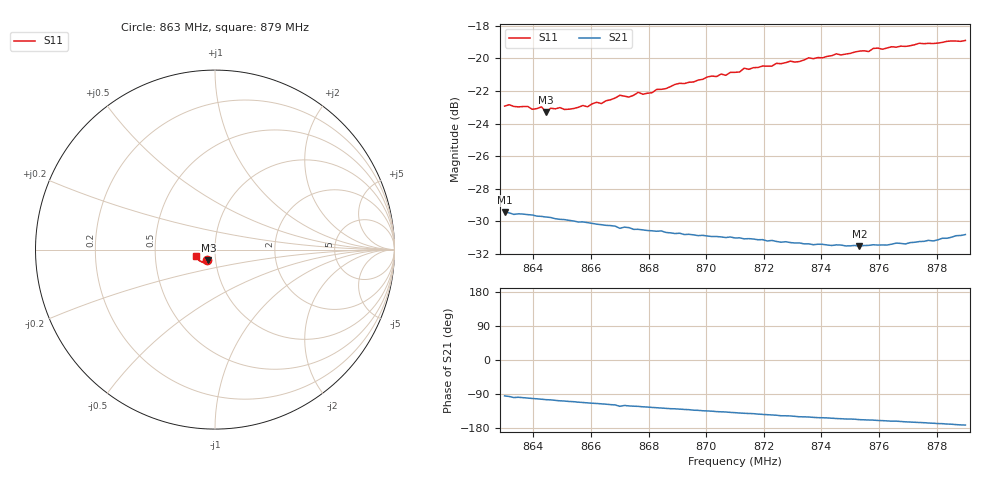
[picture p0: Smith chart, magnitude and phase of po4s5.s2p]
# HZ S RI R 50
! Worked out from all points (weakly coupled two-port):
!   101 points, 863 MHz to 879 MHz, reference 50 ohm
!   highest |S21| = -29.44 dB at 863 MHz (marker M1); lowest = -31.5 dB at 875.32 MHz (marker M2)
!   lowest |S11| = -23.3 dB at 864.44 MHz (marker M3), VSWR 1.15, Z = 46.1 - j5.34 ohm
!   |S11| at or under -10 dB: start of sweep to end of sweep
!   S12 and S22 are empty: the file has one direction only
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8.63e8  -0.0423 -0.0575  -0.00279 -0.0336  0 0  0 0
8.638e8  -0.0399 -0.059  -0.00598 -0.0326  0 0  0 0
8.6396e8  -0.039 -0.0579  -0.00666 -0.0324  0 0  0 0
8.6428e8  -0.0373 -0.0604  -0.00765 -0.0319  0 0  0 0
8.6444e8  -0.0371 -0.0576  -0.00827 -0.0316  0 0  0 0
8.646e8  -0.038 -0.0592  -0.00857 -0.0314  0 0  0 0
8.6524e8  -0.0362 -0.0597  -0.0106 -0.03  0 0  0 0
8.6572e8  -0.036 -0.062  -0.0119 -0.0292  0 0  0 0
8.6588e8  -0.0358 -0.0614  -0.0123 -0.0288  0 0  0 0
8.6636e8  -0.0365 -0.0628  -0.0134 -0.0279  0 0  0 0
8.67e8  -0.0384 -0.0668  -0.0161 -0.0255  0 0  0 0
8.6732e8  -0.0375 -0.0662  -0.0157 -0.0259  0 0  0 0
8.6764e8  -0.039 -0.0683  -0.016 -0.0253  0 0  0 0
8.678e8  -0.0389 -0.0672  -0.0164 -0.0248  0 0  0 0
8.6844e8  -0.0409 -0.0692  -0.0177 -0.0237  0 0  0 0
8.71e8  -0.055 -0.072  -0.0212 -0.0185  0 0  0 0
8.7132e8  -0.0563 -0.0743  -0.0216 -0.0177  0 0  0 0
8.7372e8  -0.0716 -0.0695  -0.0236 -0.0128  0 0  0 0
8.7532e8  -0.0838 -0.0636  -0.0245 -0.0102  0 0  0 0
8.7644e8  -0.0922 -0.0572  -0.0255 -0.00855  0 0  0 0
8.7788e8  -0.1014 -0.0451  -0.0268 -0.00624  0 0  0 0
8.79e8  -0.1073 -0.0368  -0.0285 -0.00418  0 0  0 0
